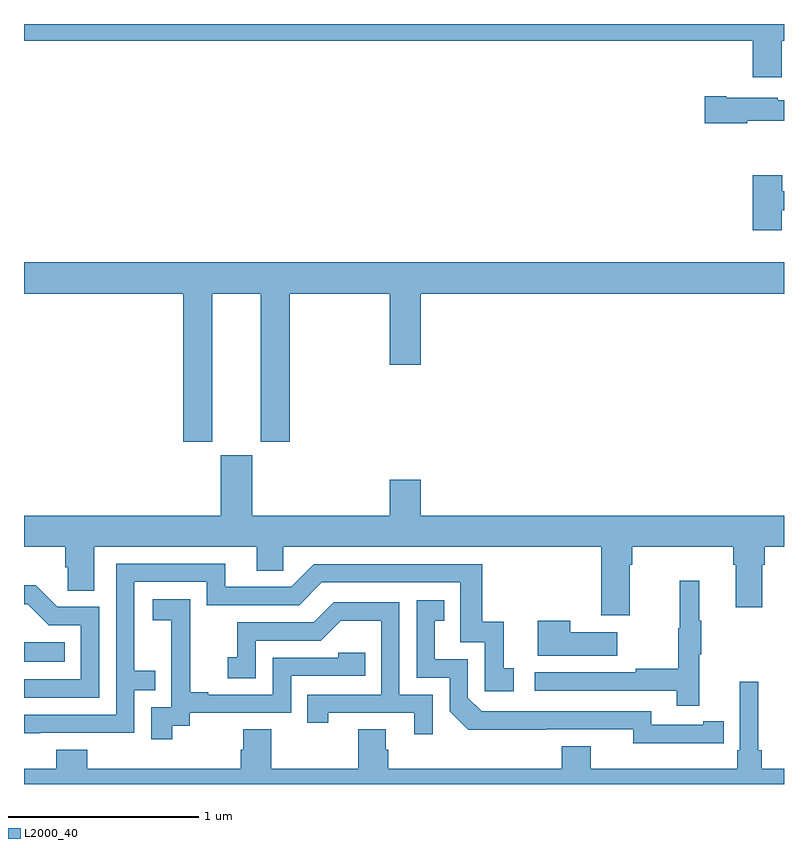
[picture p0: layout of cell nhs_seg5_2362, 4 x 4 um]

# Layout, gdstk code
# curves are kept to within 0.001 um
import gdstk
lib = gdstk.Library(unit=1e-6, precision=1e-09)
def R(c, l, rs):  # rectangles x0, y0, x1, y1
    for r in rs: c.add(gdstk.rectangle(r[:2], r[2:], *l))
def P(c, l, *ps):  # polygons
    for p in ps: c.add(gdstk.Polygon(p, *l))
L2000_40 = (2000, 40)

nhs_seg5_2362 = lib.new_cell('nhs_seg5_2362')
R(nhs_seg5_2362, L2000_40, [(247,901.442,247.214,901.546)])
P(nhs_seg5_2362, L2000_40, [(250.987,904.712),(251,904.712),(251,904.799),(247,904.799),(247,904.712),(250.835,904.712),(250.835,904.518),(250.987,904.518)],
  [(250.806,904.289),(251,904.289),(251,904.399),(250.968,904.399),(250.968,904.411),(250.696,904.411),(250.696,904.419),(250.584,904.419),(250.584,904.277),(250.806,904.277)],
  [(250.987,903.819),(251,903.819),(251,903.919),(250.99,903.919),(250.99,904.003),(250.835,904.003),(250.835,903.714),(250.987,903.714)],
  [(247.99,903.38),(248.246,903.38),(248.246,902.601),(248.399,902.601),(248.399,903.38),(248.924,903.38),(248.924,903.006),(249.088,903.006),(249.088,903.38),(251,903.38),(251,903.544),(247,903.544),(247,903.38),(247.838,903.38),(247.838,902.601),(247.99,902.601)],
  [(250.189,901.952),(250.202,901.952),(250.202,902.048),(250.733,902.048),(250.733,901.952),(250.745,901.952),(250.745,901.728),(250.885,901.728),(250.885,901.952),(250.898,901.952),(250.898,902.048),(251,902.048),(251,902.212),(249.088,902.212),(249.088,902.401),(248.924,902.401),(248.924,902.212),(248.2,902.212),(248.2,902.529),(248.036,902.529),(248.036,902.212),(247,902.212),(247,902.048),(247.217,902.048),(247.217,901.939),(247.23,901.939),(247.23,901.816),(247.369,901.816),(247.369,902.048),(248.225,902.048),(248.225,901.921),(248.364,901.921),(248.364,902.048),(250.037,902.048),(250.037,901.686),(250.189,901.686)],
  [(247.085,901.068),(247.581,901.068),(247.581,901.293),(247.691,901.293),(247.691,901.394),(247.581,901.394),(247.581,901.863),(247.962,901.863),(247.962,901.74),(248.448,901.74),(248.568,901.86),(249.297,901.86),(249.297,901.545),(249.426,901.545),(249.426,901.287),(249.577,901.287),(249.577,901.407),(249.524,901.407),(249.524,901.654),(249.413,901.654),(249.413,901.956),(248.526,901.956),(248.406,901.836),(248.059,901.836),(248.059,901.959),(247.485,901.959),(247.485,901.164),(247,901.164),(247,901.067)],
  [(250.553,901.483),(250.564,901.483),(250.564,901.657),(250.553,901.657),(250.553,901.87),(250.45,901.87),(250.45,901.62),(250.443,901.62),(250.443,901.406),(250.219,901.406),(250.219,901.386),(249.687,901.386),(249.687,901.29),(250.435,901.29),(250.435,901.212),(250.553,901.212)],
  [(247.395,901.731),(247.176,901.731),(247.063,901.844),(247,901.844),(247,901.746),(247.019,901.746),(247.13,901.635),(247.299,901.635),(247.299,901.35),(247,901.35),(247,901.254),(247.395,901.254)],
  [(247.78,901.105),(247.872,901.105),(247.872,901.173),(248.406,901.173),(248.406,901.368),(248.795,901.368),(248.795,901.491),(248.655,901.491),(248.655,901.464),(248.31,901.464),(248.31,901.269),(247.969,901.269),(247.969,901.282),(247.874,901.282),(247.874,901.565),(247.875,901.565),(247.875,901.771),(247.677,901.771),(247.677,901.661),(247.775,901.661),(247.775,901.433),(247.776,901.433),(247.776,901.203),(247.671,901.203),(247.671,901.035),(247.78,901.035)],
  [(250.574,901.014),(250.682,901.014),(250.682,901.13),(250.574,901.13),(250.574,901.11),(250.302,901.11),(250.302,901.182),(249.408,901.182),(249.336,901.254),(249.336,901.455),(249.163,901.455),(249.163,901.659),(249.212,901.659),(249.212,901.765),(249.066,901.765),(249.066,901.359),(249.24,901.359),(249.24,901.182),(249.338,901.085),(250.206,901.086),(250.206,901.013)],
  [(249.15,901.269),(248.976,901.269),(248.976,901.755),(248.63,901.755),(248.525,901.65),(248.122,901.65),(248.122,901.465),(248.073,901.465),(248.073,901.356),(248.22,901.356),(248.22,901.554),(248.562,901.554),(248.666,901.658),(248.88,901.658),(248.88,901.269),(248.491,901.269),(248.491,901.122),(248.602,901.122),(248.602,901.173),(249.053,901.173),(249.053,901.062),(249.15,901.062)],
  [(250.123,901.597),(249.875,901.597),(249.875,901.657),(249.704,901.657),(249.704,901.475),(250.123,901.475)],
  [(251,900.88),(250.883,900.88),(250.883,900.976),(250.864,900.976),(250.864,901.336),(250.767,901.336),(250.767,900.976),(250.754,900.976),(250.754,900.88),(249.982,900.88),(249.982,900.997),(249.83,900.997),(249.83,900.88),(248.918,900.88),(248.918,900.978),(248.905,900.978),(248.905,901.088),(248.758,901.088),(248.758,900.88),(248.301,900.88),(248.301,901.088),(248.153,901.088),(248.153,900.978),(248.141,900.978),(248.141,900.88),(247.334,900.88),(247.334,900.979),(247.169,900.979),(247.169,900.88),(247,900.88),(247,900.799),(251,900.799)])

lib.write_gds('nhs_seg5_2362.gds')
